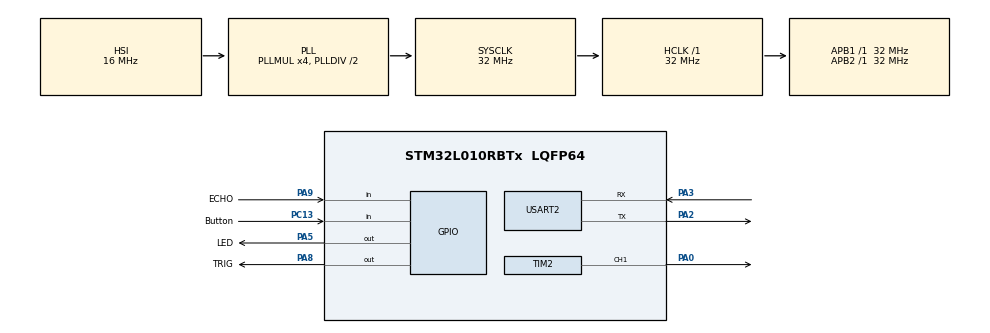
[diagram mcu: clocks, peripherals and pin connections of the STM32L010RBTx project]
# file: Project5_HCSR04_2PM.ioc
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Mcu.Family=STM32L0
Mcu.Name=STM32L010RBTx
Mcu.Package=LQFP64
PA0.Signal=S_TIM2_CH1
PA2.Mode=Asynchronous
PA2.Signal=USART2_TX
PA3.Mode=Asynchronous
PA3.Signal=USART2_RX
PA5.GPIO_Label=LED
PA5.Signal=GPIO_Output
PA8.GPIO_Label=TRIG
PA8.Signal=GPIO_Output
PA9.GPIO_Label=ECHO
PA9.Signal=GPIO_Input
PC13.GPIO_Label=Button
PC13.Signal=GPIO_Input
ProjectManager.HeapSize=0x200
ProjectManager.StackSize=0x400
ProjectManager.TargetToolchain=EWARM V8.32
RCC.AHBFreq_Value=32000000
RCC.APB1Freq_Value=32000000
RCC.APB1TimFreq_Value=32000000
RCC.APB2Freq_Value=32000000
RCC.APB2TimFreq_Value=32000000
RCC.HCLKFreq_Value=32000000
RCC.HSE_VALUE=8000000
RCC.HSI16_VALUE=16000000
RCC.HSI48_VALUE=48000000
RCC.HSI_VALUE=16000000
RCC.LSEState=RCC_LSE_ON
RCC.LSE_VALUE=32768
RCC.MSI_VALUE=2097000
RCC.PLLMUL=RCC_PLLMUL_4
RCC.SYSCLKFreq_VALUE=32000000
RCC.SYSCLKSource=RCC_SYSCLKSOURCE_PLLCLK
RCC.VCOOutputFreq_Value=64000000
SH.S_TIM2_CH1.0=TIM2_CH1,PWM Generation1 CH1
TIM2.Channel-PWM\ Generation1\ CH1=TIM_CHANNEL_1
TIM2.Period=1000
TIM2.Prescaler=1
TIM2.Pulse-PWM\ Generation1\ CH1=500
TIM21.Period=0
TIM21.Prescaler=32-1
USART2.VirtualMode-Asynchronous=VM_ASYNC
VP_TIM21_VS_ClockSourceINT.Mode=Internal
VP_TIM2_VS_ClockSourceINT.Mode=Internal
board=NUCLEO-L010RB

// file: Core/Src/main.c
/* USER CODE BEGIN Header */
/**
  ******************************************************************************
  * @file           : main.c
  * @brief          : Main program body
  ******************************************************************************
  * @attention
  *
  * <h2><center>&copy; Copyright (c) 2021 STMicroelectronics.
  * All rights reserved.</center></h2>
  *
  * This software component is licensed by ST under BSD 3-Clause license,
  * the "License"; You may not use this file except in compliance with the
  * License. You may obtain a copy of the License at:
  *                        opensource.org/licenses/BSD-3-Clause
  *
  ******************************************************************************
  */
/* USER CODE END Header */
#include "main.h"

/* USER CODE BEGIN Includes */
#include <string.h>
#include <stdio.h>
/* USER CODE END Includes */

/* USER CODE BEGIN PTD */
#define usTIM TIM21
/* USER CODE END PTD */

TIM_HandleTypeDef htim2;
TIM_HandleTypeDef htim21;

UART_HandleTypeDef huart2;

void SystemClock_Config(void);
static void MX_GPIO_Init(void);
static void MX_TIM21_Init(void);
static void MX_USART2_UART_Init(void);
static void MX_TIM2_Init(void);
/* USER CODE BEGIN PFP */
void usDelay(uint32_t uSec);
/* USER CODE END PFP */

/* USER CODE BEGIN 0 */
const float speedOfSound = 0.0343/2;
float distance;
char uartBuf[100];
/* USER CODE END 0 */

int main(void)
{
  /* USER CODE BEGIN 1 */
uint32_t numTicks;
  /* USER CODE END 1 */

  /* MCU Configuration--------------------------------------------------------*/

  /* Reset of all peripherals, Initializes the Flash interface and the Systick. */
  HAL_Init();

  /* Configure the system clock */
  SystemClock_Config();

  /* Initialize all configured peripherals */
  MX_GPIO_Init();
  MX_TIM21_Init();
  MX_USART2_UART_Init();
  MX_TIM2_Init();
  /* USER CODE BEGIN 2 */
 HAL_TIM_PWM_Start(&htim2, TIM_CHANNEL_1);
  /* USER CODE END 2 */

  /* Infinite loop */
  while (1)
  {

    /* USER CODE BEGIN 3 */
    HAL_GPIO_WritePin(TRIG_GPIO_Port, TRIG_Pin, GPIO_PIN_RESET);
    usDelay(3);

    HAL_GPIO_WritePin(TRIG_GPIO_Port, TRIG_Pin, GPIO_PIN_SET);
    usDelay(10);
    HAL_GPIO_WritePin(TRIG_GPIO_Port, TRIG_Pin, GPIO_PIN_RESET);

    while(HAL_GPIO_ReadPin(ECHO_GPIO_Port, ECHO_Pin)==GPIO_PIN_RESET);

    numTicks=0;
    while(HAL_GPIO_ReadPin(ECHO_GPIO_Port, ECHO_Pin)==GPIO_PIN_SET){
      numTicks++;
      usDelay(2);
  };

  distance = (numTicks+0.0f)*2.8*speedOfSound;

  sprintf(uartBuf, "%.1f\r\n", distance);

  HAL_UART_Transmit(&huart2, (uint8_t*)uartBuf, strlen(uartBuf), 100);

  if(distance > 20){
   HAL_GPIO_WritePin(LED_GPIO_Port, LED_Pin,GPIO_PIN_SET);
  }else{
   HAL_GPIO_WritePin(LED_GPIO_Port, LED_Pin,GPIO_PIN_RESET);
  }
  HAL_Delay(1000);
  }
  /* USER CODE END 3 */
}

void SystemClock_Config(void)
{
  RCC_OscInitTypeDef RCC_OscInitStruct = {0};
  RCC_ClkInitTypeDef RCC_ClkInitStruct = {0};
  RCC_PeriphCLKInitTypeDef PeriphClkInit = {0};

  /** Configure the main internal regulator output voltage
  */
  __HAL_PWR_VOLTAGESCALING_CONFIG(PWR_REGULATOR_VOLTAGE_SCALE1);
  /** Initializes the RCC Oscillators according to the specified parameters
  * in the RCC_OscInitTypeDef structure.
  */
  RCC_OscInitStruct.OscillatorType = RCC_OSCILLATORTYPE_HSI;
  RCC_OscInitStruct.HSIState = RCC_HSI_ON;
  RCC_OscInitStruct.HSICalibrationValue = RCC_HSICALIBRATION_DEFAULT;
  RCC_OscInitStruct.PLL.PLLState = RCC_PLL_ON;
  RCC_OscInitStruct.PLL.PLLSource = RCC_PLLSOURCE_HSI;
  RCC_OscInitStruct.PLL.PLLMUL = RCC_PLLMUL_4;
  RCC_OscInitStruct.PLL.PLLDIV = RCC_PLLDIV_2;
  if (HAL_RCC_OscConfig(&RCC_OscInitStruct) != HAL_OK)
  {
    Error_Handler();
  }
  /** Initializes the CPU, AHB and APB buses clocks
  */
  RCC_ClkInitStruct.ClockType = RCC_CLOCKTYPE_HCLK|RCC_CLOCKTYPE_SYSCLK
                              |RCC_CLOCKTYPE_PCLK1|RCC_CLOCKTYPE_PCLK2;
  RCC_ClkInitStruct.SYSCLKSource = RCC_SYSCLKSOURCE_PLLCLK;
  RCC_ClkInitStruct.AHBCLKDivider = RCC_SYSCLK_DIV1;
  RCC_ClkInitStruct.APB1CLKDivider = RCC_HCLK_DIV1;
  RCC_ClkInitStruct.APB2CLKDivider = RCC_HCLK_DIV1;

  if (HAL_RCC_ClockConfig(&RCC_ClkInitStruct, FLASH_LATENCY_1) != HAL_OK)
  {
    Error_Handler();
  }
  PeriphClkInit.PeriphClockSelection = RCC_PERIPHCLK_USART2;
  PeriphClkInit.Usart2ClockSelection = RCC_USART2CLKSOURCE_PCLK1;
  if (HAL_RCCEx_PeriphCLKConfig(&PeriphClkInit) != HAL_OK)
  {
    Error_Handler();
  }
}

static void MX_TIM2_Init(void)
{

  TIM_ClockConfigTypeDef sClockSourceConfig = {0};
  TIM_MasterConfigTypeDef sMasterConfig = {0};
  TIM_OC_InitTypeDef sConfigOC = {0};

  htim2.Instance = TIM2;
  htim2.Init.Prescaler = 1;
  htim2.Init.CounterMode = TIM_COUNTERMODE_UP;
  htim2.Init.Period = 1000;
  htim2.Init.ClockDivision = TIM_CLOCKDIVISION_DIV1;
  htim2.Init.AutoReloadPreload = TIM_AUTORELOAD_PRELOAD_DISABLE;
  if (HAL_TIM_Base_Init(&htim2) != HAL_OK)
  {
    Error_Handler();
  }
  sClockSourceConfig.ClockSource = TIM_CLOCKSOURCE_INTERNAL;
  if (HAL_TIM_ConfigClockSource(&htim2, &sClockSourceConfig) != HAL_OK)
  {
    Error_Handler();
  }
  if (HAL_TIM_PWM_Init(&htim2) != HAL_OK)
  {
    Error_Handler();
  }
  sMasterConfig.MasterOutputTrigger = TIM_TRGO_RESET;
  sMasterConfig.MasterSlaveMode = TIM_MASTERSLAVEMODE_DISABLE;
  if (HAL_TIMEx_MasterConfigSynchronization(&htim2, &sMasterConfig) != HAL_OK)
  {
    Error_Handler();
  }
  sConfigOC.OCMode = TIM_OCMODE_PWM1;
  sConfigOC.Pulse = 500;
  sConfigOC.OCPolarity = TIM_OCPOLARITY_HIGH;
  sConfigOC.OCFastMode = TIM_OCFAST_DISABLE;
  if (HAL_TIM_PWM_ConfigChannel(&htim2, &sConfigOC, TIM_CHANNEL_1) != HAL_OK)
  {
    Error_Handler();
  }
  HAL_TIM_MspPostInit(&htim2);

}

static void MX_TIM21_Init(void)
{

  TIM_ClockConfigTypeDef sClockSourceConfig = {0};
  TIM_MasterConfigTypeDef sMasterConfig = {0};

  htim21.Instance = TIM21;
  htim21.Init.Prescaler = 32-1;
  htim21.Init.CounterMode = TIM_COUNTERMODE_UP;
  htim21.Init.Period = 0;
  htim21.Init.ClockDivision = TIM_CLOCKDIVISION_DIV1;
  htim21.Init.AutoReloadPreload = TIM_AUTORELOAD_PRELOAD_DISABLE;
  if (HAL_TIM_Base_Init(&htim21) != HAL_OK)
  {
    Error_Handler();
  }
  sClockSourceConfig.ClockSource = TIM_CLOCKSOURCE_INTERNAL;
  if (HAL_TIM_ConfigClockSource(&htim21, &sClockSourceConfig) != HAL_OK)
  {
    Error_Handler();
  }
  sMasterConfig.MasterOutputTrigger = TIM_TRGO_RESET;
  sMasterConfig.MasterSlaveMode = TIM_MASTERSLAVEMODE_DISABLE;
  if (HAL_TIMEx_MasterConfigSynchronization(&htim21, &sMasterConfig) != HAL_OK)
  {
    Error_Handler();
  }

}

static void MX_USART2_UART_Init(void)
{

  huart2.Instance = USART2;
  huart2.Init.BaudRate = 115200;
  huart2.Init.WordLength = UART_WORDLENGTH_8B;
  huart2.Init.StopBits = UART_STOPBITS_1;
  huart2.Init.Parity = UART_PARITY_NONE;
  huart2.Init.Mode = UART_MODE_TX_RX;
  huart2.Init.HwFlowCtl = UART_HWCONTROL_NONE;
  huart2.Init.OverSampling = UART_OVERSAMPLING_16;
  huart2.Init.OneBitSampling = UART_ONE_BIT_SAMPLE_DISABLE;
  huart2.AdvancedInit.AdvFeatureInit = UART_ADVFEATURE_NO_INIT;
  if (HAL_UART_Init(&huart2) != HAL_OK)
  {
    Error_Handler();
  }

}

static void MX_GPIO_Init(void)
{
  GPIO_InitTypeDef GPIO_InitStruct = {0};

  /* GPIO Ports Clock Enable */
  __HAL_RCC_GPIOC_CLK_ENABLE();
  __HAL_RCC_GPIOA_CLK_ENABLE();

  /*Configure GPIO pin Output Level */
  HAL_GPIO_WritePin(GPIOA, LED_Pin|TRIG_Pin, GPIO_PIN_RESET);

  /*Configure GPIO pin : Button_Pin */
  GPIO_InitStruct.Pin = Button_Pin;
  GPIO_InitStruct.Mode = GPIO_MODE_INPUT;
  GPIO_InitStruct.Pull = GPIO_NOPULL;
  HAL_GPIO_Init(Button_GPIO_Port, &GPIO_InitStruct);

  /*Configure GPIO pins : LED_Pin TRIG_Pin */
  GPIO_InitStruct.Pin = LED_Pin|TRIG_Pin;
  GPIO_InitStruct.Mode = GPIO_MODE_OUTPUT_PP;
  GPIO_InitStruct.Pull = GPIO_NOPULL;
  GPIO_InitStruct.Speed = GPIO_SPEED_FREQ_LOW;
  HAL_GPIO_Init(GPIOA, &GPIO_InitStruct);

  /*Configure GPIO pin : ECHO_Pin */
  GPIO_InitStruct.Pin = ECHO_Pin;
  GPIO_InitStruct.Mode = GPIO_MODE_INPUT;
  GPIO_InitStruct.Pull = GPIO_NOPULL;
  HAL_GPIO_Init(ECHO_GPIO_Port, &GPIO_InitStruct);

}

/* USER CODE BEGIN 4 */
void usDelay(uint32_t uSec){
if(uSec < 2) uSec = 2;
usTIM->ARR = uSec-1;
usTIM->EGR = 1;
usTIM->SR &= ~1;
usTIM->CR1|=1;
while((usTIM->SR&0x0001)!=1);
usTIM->SR&=~(0x0001);

}
/* USER CODE END 4 */

void Error_Handler(void)
{
  __disable_irq();
  while (1)
  {
  }
}

/************************ (C) COPYRIGHT STMicroelectronics *****END OF FILE****/
